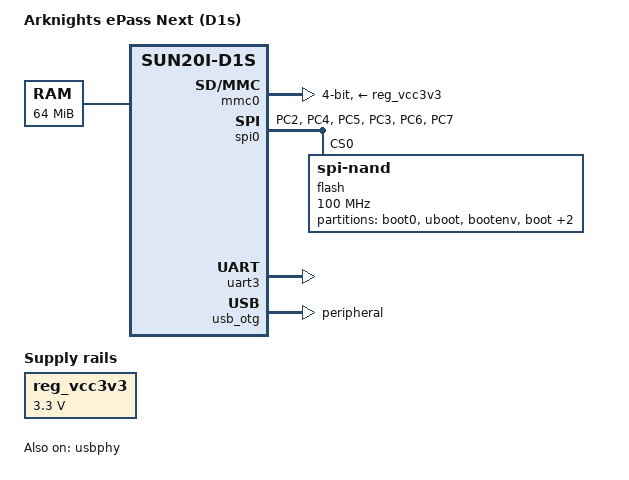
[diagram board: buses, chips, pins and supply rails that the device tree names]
// SPDX-License-Identifier: (GPL-2.0+ OR MIT)
/*
 * Copyright (C) 2025 Lukas Schmid <lukas.schmid@netcube.li>
 *
 * D1s port of the T113-s3 board. VCC-DRAM comes off AXP209 DCDC2 and must be
 * at 1.8V for the in-package DDR2 before the DRAM controller is touched; see
 * CONFIG_SUNXI_DRAM_VCC_AXP209_DCDC2.
 *
 * sun20i-d1s.dtsi comes from dts/upstream (the Linux devicetree submodule);
 * only this board file is local, because it is not in upstream Linux.
 */

/dts-v1/;

#include <dt-bindings/gpio/gpio.h>

#include "sun20i-d1s.dtsi"

/ {
	model = "Arknights ePass Next (D1s)";
	compatible = "rhodesisland,epass-next", "allwinner,sun20i-d1s";

	aliases {
		serial3 = &uart3;
		spi0 = &spi0;
	};

	chosen {
		stdout-path = "serial3:115200n8";
	};

	/*
	 * dram_init() on RISC-V is just fdtdec_setup_mem_size_base(), so
	 * without this node U-Boot comes up believing it has no memory. Booting
	 * from flash the SPL overwrites it with what the controller actually
	 * sized, which is the same 64M; the value here is what the FEL path
	 * gets, since nothing runs the fixup there.
	 */
	memory@40000000 {
		device_type = "memory";
		reg = <0x40000000 0x4000000>;
	};

	reg_vcc3v3: regulator-3v3 {
		compatible = "regulator-fixed";
		regulator-name = "vcc-3v3";
		regulator-min-microvolt = <3300000>;
		regulator-max-microvolt = <3300000>;
		regulator-always-on;
		bootph-all;
	};

	soc {
		/*
		 * The C906 CLINT is M-mode only, so nothing in U-Boot or Linux
		 * ever touches it and the upstream dtsi does not describe it.
		 * OpenSBI still has to find it to provide SBI TIME and IPI, and
		 * OpenSBI initialises from whichever device tree the stage that
		 * loaded it passed -- which here is this one, not Linux's. Leave
		 * it out and the banner reads "Platform Timer Device: --- @
		 * 0Hz", SBI_SET_TIMER quietly does nothing, and Linux loses its
		 * tick about a second into boot with no oops to show for it.
		 * The Linux board dts carries the same node for the FEL path,
		 * where OpenSBI is handed that one instead.
		 */
		clint: timer@14000000 {
			compatible = "thead,c900-clint";
			reg = <0x14000000 0x04000000>;
			interrupts-extended = <&cpu0_intc 3>, <&cpu0_intc 7>;
		};
	};
};

&dcxo {
	clock-frequency = <24000000>;
};

&mmc0 {
	pinctrl-0 = <&mmc0_pins>;
	pinctrl-names = "default";
	vmmc-supply = <&reg_vcc3v3>;
	vqmmc-supply = <&reg_vcc3v3>;
	broken-cd;
	disable-wp;
	bus-width = <4>;
	status = "okay";
};

/*
 * Quad wiring, kept in lockstep with the Linux board dts: the dtsi's
 * spi0_pins covers only the single-lane four, quad also drives PC6 (WP,
 * becoming IO2) and PC7 (HOLD, becoming IO3). The pads default to 10mA and
 * this bus is fast; the BSP's 20mA and the pull-ups on CS/WP/HOLD keep a
 * lane from floating while the controller has it turned around as an input.
 * The SPL is not affected: its loader muxes PC2..PC5 itself and reads
 * single-lane.
 */
&pio {
	spi0_quad_pins: spi0-quad-pins {
		pins = "PC2", "PC4", "PC5";
		function = "spi0";
		drive-strength = <20>;
		bootph-all;
	};

	spi0_quad_pu_pins: spi0-quad-pu-pins {
		pins = "PC3", "PC6", "PC7";
		function = "spi0";
		drive-strength = <20>;
		bias-pull-up;
		bootph-all;
	};
};

&spi0 {
	pinctrl-0 = <&spi0_quad_pins>, <&spi0_quad_pu_pins>;
	pinctrl-names = "default";
	status = "okay";
	bootph-all;

	flash@0 {
		compatible = "spi-nand";
		reg = <0>;
		/*
		 * The board is intentionally back on its 100MHz QIO baseline.
		 * Intermittent read corruption remains a hardware follow-up item.
		 */
		spi-max-frequency = <100000000>;
		spi-rx-bus-width = <4>;
		spi-tx-bus-width = <4>;
		bootph-all;

		/*
		 * Must stay identical to the table in the Linux board dts --
		 * nothing checks that they agree, and DFU derives its alt
		 * settings from this one.
		 */
		partitions {
			compatible = "fixed-partitions";
			#address-cells = <1>;
			#size-cells = <1>;

			partition@0 {
				label = "boot0";
				reg = <0x0 0x40000>;	/* 256K */
				read-only;
			};

			partition@40000 {
				label = "uboot";
				reg = <0x40000 0x100000>;	/* 1M */
				read-only;
			};

			partition@140000 {
				label = "bootenv";
				reg = <0x140000 0x20000>;	/* 128K */
			};

			partition@160000 {
				/*
				 * One partition holding two FITs, the way the
				 * F1C boards do it and the way the flasher
				 * expects: dtbs.itb in a 1M slot at the start,
				 * kernel.itb right after it. Keeping them in
				 * one partition means one DFU alt setting and
				 * one image to hand the flasher.
				 */
				label = "boot";
				reg = <0x160000 0xa00000>;	/* 10M */
			};

			partition@b60000 {
				label = "rootfs";
				reg = <0xb60000 0x1c00000>;	/* 28M */
			};

			partition@2760000 {
				label = "data";
				reg = <0x2760000 0x58a0000>;	/* 88.6M */
			};
		};
	};
};

&uart3 {
	pinctrl-0 = <&uart3_pb_pins>;
	pinctrl-names = "default";
	status = "okay";
};

&usb_otg {
	dr_mode = "peripheral";
	status = "okay";
};

&usbphy {
	usb0_vbus-supply = <&reg_vcc3v3>;
	status = "okay";
};
